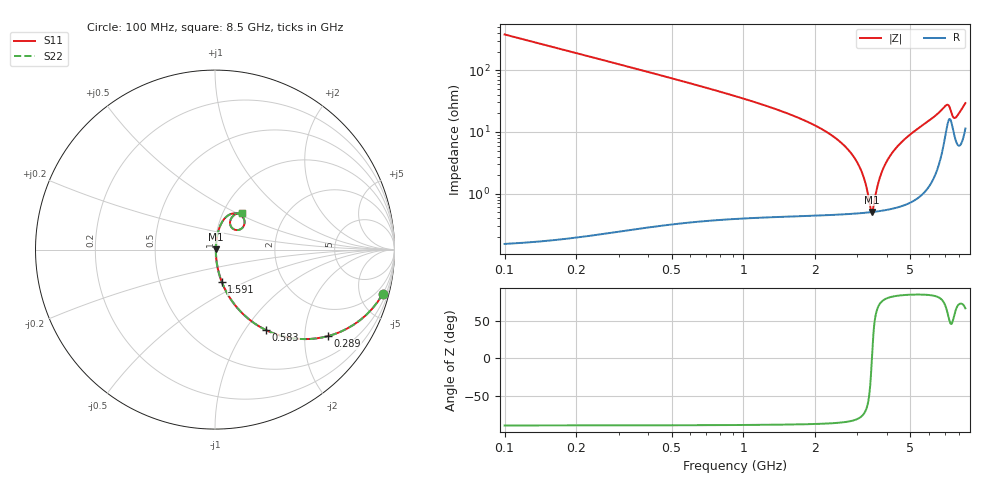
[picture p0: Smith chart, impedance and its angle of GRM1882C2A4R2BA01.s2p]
!Murata Part Number: GRM1882C2A4R2BA01
!These Parameters are Measured in Series Mode Connection
!Data Generated on Mar 30, 2021
!  o--ll--o
!Port1  Port2
!  o------o
!Operation Temp=25[degC], DC Bias Voltage=0[V]
!Freq. Start=100[MHz] Stop=9[GHz] 401[Steps]
# Hz S RI R 50
!Freq.(Hz) S11(Real) S11(Imag) S21(Real) S21(Imag) S12(Real) S12(Imag) S22(Real) S22(Imag)
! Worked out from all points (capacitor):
!   401 points, 100 MHz to 8.5 GHz, reference 50 ohm
!   read as one part in series: C = 4.2 pF near 142 MHz
!   lowest |Z| = 510 mohm at 3.46 GHz (marker M1)
!   series resonance near 3.451 GHz, so ESL is about 510 pH
!   S11 on the Smith chart (normalised r, x): 100 MHz: 1.00, -7.57; 289 MHz: 1.00, -2.60; 583 MHz: 1.01, -1.26; 1.591 GHz: 1.01, -0.38; 8.5 GHz: 1.23, +0.54
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1e8  0.9347 -0.2469  0.0653 0.2469  0.0653 0.2469  0.9347 -0.2469
2.05e8  0.7719 -0.4191  0.2281 0.4191  0.2281 0.4191  0.7719 -0.4191
2.89e8  0.6283 -0.4823  0.3717 0.4823  0.3717 0.4823  0.6283 -0.4823
5.83e8  0.2856 -0.449  0.7144 0.449  0.7144 0.449  0.2856 -0.449
9.4e8  0.1247 -0.3252  0.8753 0.3252  0.8753 0.3252  0.1247 -0.3252
1.507e9  0.0437 -0.1943  0.9563 0.1943  0.9563 0.1943  0.0437 -0.1943
1.591e9  0.038 -0.1802  0.962 0.1802  0.962 0.1802  0.038 -0.1802
2.431e9  0.0107 -0.0783  0.9893 0.0783  0.9893 0.0783  0.0107 -0.0783
2.914e9  0.00617 -0.0376  0.9938 0.0376  0.9938 0.0376  0.00617 -0.0376
3.187e9  0.00519 -0.0177  0.9948 0.0177  0.9948 0.0177  0.00519 -0.0177
3.397e9  0.00501 -0.00351  0.995 0.00351  0.995 0.00351  0.00501 -0.00351
3.46e9  0.00503 0.00061  0.995 -0.00061  0.995 -0.00061  0.00503 0.00061
3.649e9  0.00533 0.0126  0.9947 -0.0126  0.9947 -0.0126  0.00533 0.0126
3.796e9  0.00575 0.0216  0.9942 -0.0216  0.9942 -0.0216  0.00575 0.0216
4.006e9  0.00664 0.034  0.9934 -0.034  0.9934 -0.034  0.00664 0.034
4.3e9  0.00842 0.0508  0.9916 -0.0508  0.9916 -0.0508  0.00842 0.0508
4.867e9  0.0136 0.082  0.9864 -0.082  0.9864 -0.082  0.0136 0.082
5.707e9  0.0273 0.1284  0.9727 -0.1284  0.9727 -0.1284  0.0273 0.1284
6.589e9  0.0659 0.1853  0.9341 -0.1853  0.9341 -0.1853  0.0659 0.1853
7.114e9  0.1487 0.1881  0.8513 -0.1881  0.8513 -0.1881  0.1487 0.1881
7.639e9  0.0969 0.1187  0.9031 -0.1187  0.9031 -0.1187  0.0969 0.1187
8.5e9  0.1522 0.2059  0.8478 -0.2059  0.8478 -0.2059  0.1522 0.2059
